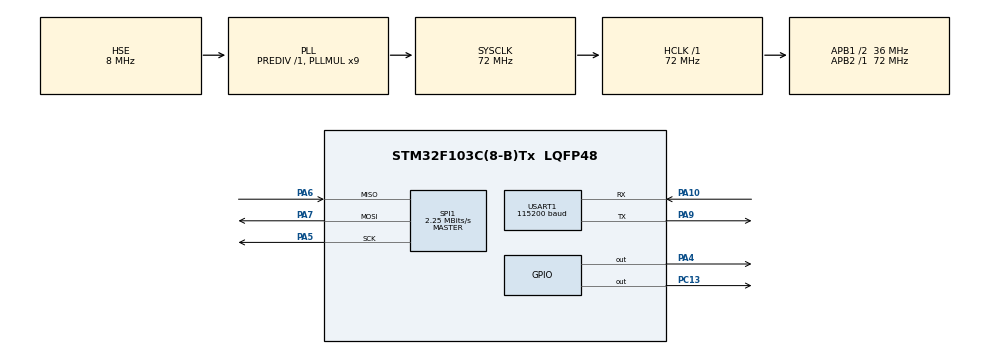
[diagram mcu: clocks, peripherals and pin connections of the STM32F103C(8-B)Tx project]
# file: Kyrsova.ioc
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Mcu.Family=STM32F1
Mcu.Name=STM32F103C(8-B)Tx
Mcu.Package=LQFP48
NVIC.PriorityGroup=NVIC_PRIORITYGROUP_4
PA10.Mode=Asynchronous
PA10.Signal=USART1_RX
PA13.Mode=Serial_Wire
PA13.Signal=SYS_JTMS-SWDIO
PA14.Mode=Serial_Wire
PA14.Signal=SYS_JTCK-SWCLK
PA4.PinState=GPIO_PIN_SET
PA4.Signal=GPIO_Output
PA5.Mode=Full_Duplex_Master
PA5.Signal=SPI1_SCK
PA6.Mode=Full_Duplex_Master
PA6.Signal=SPI1_MISO
PA7.Mode=Full_Duplex_Master
PA7.Signal=SPI1_MOSI
PA9.Mode=Asynchronous
PA9.Signal=USART1_TX
PC13-TAMPER-RTC.PinState=GPIO_PIN_SET
PC13-TAMPER-RTC.Signal=GPIO_Output
PD0-OSC_IN.Mode=HSE-External-Oscillator
PD0-OSC_IN.Signal=RCC_OSC_IN
PD1-OSC_OUT.Mode=HSE-External-Oscillator
PD1-OSC_OUT.Signal=RCC_OSC_OUT
ProjectManager.HeapSize=0x200
ProjectManager.StackSize=0x400
ProjectManager.TargetToolchain=EWARM V8.32
RCC.AHBFreq_Value=72000000
RCC.APB1CLKDivider=RCC_HCLK_DIV2
RCC.APB1Freq_Value=36000000
RCC.APB1TimFreq_Value=72000000
RCC.APB2Freq_Value=72000000
RCC.APB2TimFreq_Value=72000000
RCC.HCLKFreq_Value=72000000
RCC.PLLMUL=RCC_PLL_MUL9
RCC.PLLSourceVirtual=RCC_PLLSOURCE_HSE
RCC.SYSCLKFreq_VALUE=72000000
RCC.SYSCLKSource=RCC_SYSCLKSOURCE_PLLCLK
RCC.USBFreq_Value=72000000
SPI1.BaudRatePrescaler=SPI_BAUDRATEPRESCALER_32
SPI1.CalculateBaudRate=2.25 MBits/s
SPI1.Direction=SPI_DIRECTION_2LINES
SPI1.Mode=SPI_MODE_MASTER
SPI1.VirtualType=VM_MASTER
USART1.BaudRate=115200
USART1.VirtualMode=VM_ASYNC
board=custom

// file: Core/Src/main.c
/* USER CODE BEGIN Header */
/**
  ******************************************************************************
  * @file           : main.c
  * @brief          : Main program body
  ******************************************************************************
  * @attention
  *
  * Copyright (c) 2025 STMicroelectronics.
  * All rights reserved.
  *
  * This software is licensed under terms that can be found in the LICENSE file
  * in the root directory of this software component.
  * If no LICENSE file comes with this software, it is provided AS-IS.
  *
  ******************************************************************************
  */
/* USER CODE END Header */
#include "main.h"

/* USER CODE BEGIN Includes */
#include <string.h>
#include <stdbool.h>
#include <stdio.h>
#include "socket.h"
#include "dhcp.h"
#include "wizchip_conf.h"

/* USER CODE END Includes */

/* USER CODE BEGIN PD */

#define SOCKET_ID       0
#define DHCP_SOCKET     0
#define DNS_SOCKET      1
#define HTTP_SOCKET     2
#define SOCK_TCPS       0
#define SOCK_UDPS       1
#define PORT_TCPS       80

/* USER CODE END PD */

SPI_HandleTypeDef hspi1;

UART_HandleTypeDef huart1;

/* USER CODE BEGIN PV */
uint8_t socknumlist[] = {2, 3, 4, 5, 6, 7};
uint8_t RX_BUF[1024];
uint8_t TX_BUF[1024];
uint8_t* tx_ref = TX_BUF;
int32_t ret;
int32_t totalRet = 0;

wiz_NetInfo net_info = {
    .mac  = {0x00, 0x08, 0xDC, 0x11, 0x22, 0x33},
    .ip   = {192, 168, 0, 101},
    .sn   = {255, 255, 255, 0},
    .gw   = {192, 168, 0, 1},
    .dhcp = NETINFO_STATIC
};

/* USER CODE END PV */

void SystemClock_Config(void);
static void MX_GPIO_Init(void);
static void MX_SPI1_Init(void);
static void MX_USART1_UART_Init(void);

/* USER CODE BEGIN 0 */
void wizchipSelect(void) {
    HAL_GPIO_WritePin(GPIOA, GPIO_PIN_4, GPIO_PIN_RESET);
}

void wizchipUnselect(void) {
    HAL_GPIO_WritePin(GPIOA, GPIO_PIN_4, GPIO_PIN_SET);
}

void wizchipReadBurst(uint8_t* buff, uint16_t len) {
    HAL_SPI_Receive(&hspi1, buff, len, HAL_MAX_DELAY);
}

void wizchipWriteBurst(uint8_t* buff, uint16_t len) {
    HAL_SPI_Transmit(&hspi1, buff, len, HAL_MAX_DELAY);
}

uint8_t wizchipReadByte(void) {
    uint8_t byte;
    wizchipReadBurst(&byte, sizeof(byte));
    return byte;
}

void wizchipWriteByte(uint8_t byte) {
    wizchipWriteBurst(&byte, sizeof(byte));
}

volatile bool ip_assigned = false;

void Callback_IPAssigned(void) {
    ip_assigned = true;
}

void Callback_IPConflict(void) {
    ip_assigned = false;
}

uint8_t dhcp_buffer[1024];
uint8_t dns_buffer[1024];

void W5500Init() {
    // Register W5500 callbacks
    reg_wizchip_cs_cbfunc(wizchipSelect, wizchipUnselect);
    reg_wizchip_spi_cbfunc(wizchipReadByte, wizchipWriteByte);
    reg_wizchip_spiburst_cbfunc(wizchipReadBurst, wizchipWriteBurst);

    uint8_t rx_tx_buff_sizes[] = {2, 2, 2, 2, 2, 2, 2, 2};
    wizchip_init(rx_tx_buff_sizes, rx_tx_buff_sizes);

    // set MAC address before using DHCP

    //setSHAR(net_info.mac);

//    char charData[200]; // Data holder
//    sprintf(charData,"IP:  %d.%d.%d.%d\r\nGW:  %d.%d.%d.%d\r\nNet: %d.%d.%d.%d\r\n",
//        net_info.ip[0], net_info.ip[1], net_info.ip[2], net_info.ip[3],
//        net_info.gw[0], net_info.gw[1], net_info.gw[2], net_info.gw[3],
//        net_info.sn[0], net_info.sn[1], net_info.sn[2], net_info.sn[3]
//    );
//    HAL_UART_Transmit(&huart1,(uint8_t *)charData,strlen(charData),1000);

    wizchip_setnetinfo(&net_info);
}

/* USER CODE END 0 */

int main(void)
{

  /* MCU Configuration--------------------------------------------------------*/

  /* Reset of all peripherals, Initializes the Flash interface and the Systick. */
  HAL_Init();

  /* Configure the system clock */
  SystemClock_Config();

  /* Initialize all configured peripherals */
  MX_GPIO_Init();
  MX_SPI1_Init();
  MX_USART1_UART_Init();
  /* USER CODE BEGIN 2 */
  HAL_GPIO_WritePin(GPIOC, GPIO_PIN_13, GPIO_PIN_SET);

  W5500Init();

  const char http_get_response[] =
          "HTTP/1.1 200 OK\r\n"
          "Content-Length: %d\r\n"
          "Content-Type: text\r\n"
          "Connection: close\r\n\r\n";

  const char http_post_response[] =
          "HTTP/1.1 200 OK\r\n"
          "Connection: close\r\n\r\n";

  /* USER CODE END 2 */

  /* Infinite loop */
  while (1)
  {

    /* USER CODE BEGIN 3 */

      switch (getSn_SR(SOCKET_ID))
      {
      case SOCK_INIT:
        socket(SOCKET_ID, Sn_MR_TCP, PORT_TCPS, 0);

        listen(SOCKET_ID);

        break;

      case SOCK_ESTABLISHED:

        ret = recv(SOCKET_ID, TX_BUF, sizeof(TX_BUF)-1);

        if(ret == 0)
        {
          disconnect(SOCKET_ID);
          break;
        }

        TX_BUF[ret] = '\0';

        char* body = strstr((char* )TX_BUF, "\r\n\r\n");
        body+=4;
        const char* method = strtok((char* )TX_BUF, " ");
        const char* url = strtok(NULL, " ");

        /*if(strcmp(method, "GET") == 0)
        {
          HAL_UART_Transmit(&huart1, method, strlen(method), HAL_MAX_DELAY);
          HAL_UART_Transmit(&huart1, " ", 1, HAL_MAX_DELAY);
          HAL_UART_Transmit(&huart1, url, strlen(url), HAL_MAX_DELAY);
          HAL_UART_Transmit(&huart1, "\0", 1, HAL_MAX_DELAY);

          //uint8_t size = 0;
          //HAL_UART_Receive(&huart1, &size, 1, HAL_MAX_DELAY);  // зчитуємо розмір

          HAL_Delay(100);
          uint8_t data[128] = {0};
          HAL_UART_Receive_DMA(&huart1, data, HAL_MAX_DELAY);
          HAL_UART_Receive(&huart1, data + 1, 1, HAL_MAX_DELAY);

          body[10] = '\0';
          const char http_response[] =
          "HTTP/1.1 200 OK\r\n"
          "Content-Length: %d\r\n"
          "Content-Type: text\r\n"
          "Connection: close\r\n\r\n";

          snprintf((char*)RX_BUF, sizeof(RX_BUF), http_response, strlen(body));

          send(SOCKET_ID, RX_BUF, strlen((const char*)RX_BUF));
          send(SOCKET_ID, (uint8_t*)body, strlen(body));

        }
        else */if (strcmp(method, "POST") == 0)
        {
          HAL_UART_Transmit(&huart1, method, strlen(method), HAL_MAX_DELAY);
          HAL_UART_Transmit(&huart1, " ", 1, HAL_MAX_DELAY);
          HAL_UART_Transmit(&huart1, url, strlen(url), HAL_MAX_DELAY);
          HAL_UART_Transmit(&huart1, " ", 1, HAL_MAX_DELAY);
          HAL_UART_Transmit(&huart1, body, strlen(body), HAL_MAX_DELAY);
          HAL_UART_Transmit(&huart1, "\0", 1, HAL_MAX_DELAY);

          snprintf((char*)RX_BUF, sizeof(RX_BUF), http_post_response);

          send(SOCKET_ID, RX_BUF, strlen((const char*)RX_BUF));

        }

        memset(TX_BUF, 0, sizeof(TX_BUF));
        memset(RX_BUF, 0, sizeof(RX_BUF));
        disconnect(SOCKET_ID);

        break;
      case SOCK_CLOSE_WAIT:

        disconnect(SOCKET_ID);
        listen(SOCKET_ID);
        break;

      case SOCK_CLOSED:

        socket(SOCKET_ID, Sn_MR_TCP, PORT_TCPS, 0);
        listen(SOCKET_ID);
        break;

      default:
        break;
      }

  }
  /* USER CODE END 3 */
}

void SystemClock_Config(void)
{
  RCC_OscInitTypeDef RCC_OscInitStruct = {0};
  RCC_ClkInitTypeDef RCC_ClkInitStruct = {0};

  /** Initializes the RCC Oscillators according to the specified parameters
  * in the RCC_OscInitTypeDef structure.
  */
  RCC_OscInitStruct.OscillatorType = RCC_OSCILLATORTYPE_HSE;
  RCC_OscInitStruct.HSEState = RCC_HSE_ON;
  RCC_OscInitStruct.HSEPredivValue = RCC_HSE_PREDIV_DIV1;
  RCC_OscInitStruct.HSIState = RCC_HSI_ON;
  RCC_OscInitStruct.PLL.PLLState = RCC_PLL_ON;
  RCC_OscInitStruct.PLL.PLLSource = RCC_PLLSOURCE_HSE;
  RCC_OscInitStruct.PLL.PLLMUL = RCC_PLL_MUL9;
  if (HAL_RCC_OscConfig(&RCC_OscInitStruct) != HAL_OK)
  {
    Error_Handler();
  }

  /** Initializes the CPU, AHB and APB buses clocks
  */
  RCC_ClkInitStruct.ClockType = RCC_CLOCKTYPE_HCLK|RCC_CLOCKTYPE_SYSCLK
                              |RCC_CLOCKTYPE_PCLK1|RCC_CLOCKTYPE_PCLK2;
  RCC_ClkInitStruct.SYSCLKSource = RCC_SYSCLKSOURCE_PLLCLK;
  RCC_ClkInitStruct.AHBCLKDivider = RCC_SYSCLK_DIV1;
  RCC_ClkInitStruct.APB1CLKDivider = RCC_HCLK_DIV2;
  RCC_ClkInitStruct.APB2CLKDivider = RCC_HCLK_DIV1;

  if (HAL_RCC_ClockConfig(&RCC_ClkInitStruct, FLASH_LATENCY_2) != HAL_OK)
  {
    Error_Handler();
  }
}

static void MX_SPI1_Init(void)
{

  /* SPI1 parameter configuration*/
  hspi1.Instance = SPI1;
  hspi1.Init.Mode = SPI_MODE_MASTER;
  hspi1.Init.Direction = SPI_DIRECTION_2LINES;
  hspi1.Init.DataSize = SPI_DATASIZE_8BIT;
  hspi1.Init.CLKPolarity = SPI_POLARITY_LOW;
  hspi1.Init.CLKPhase = SPI_PHASE_1EDGE;
  hspi1.Init.NSS = SPI_NSS_SOFT;
  hspi1.Init.BaudRatePrescaler = SPI_BAUDRATEPRESCALER_32;
  hspi1.Init.FirstBit = SPI_FIRSTBIT_MSB;
  hspi1.Init.TIMode = SPI_TIMODE_DISABLE;
  hspi1.Init.CRCCalculation = SPI_CRCCALCULATION_DISABLE;
  hspi1.Init.CRCPolynomial = 10;
  if (HAL_SPI_Init(&hspi1) != HAL_OK)
  {
    Error_Handler();
  }

}

static void MX_USART1_UART_Init(void)
{

  huart1.Instance = USART1;
  huart1.Init.BaudRate = 115200;
  huart1.Init.WordLength = UART_WORDLENGTH_8B;
  huart1.Init.StopBits = UART_STOPBITS_1;
  huart1.Init.Parity = UART_PARITY_NONE;
  huart1.Init.Mode = UART_MODE_TX_RX;
  huart1.Init.HwFlowCtl = UART_HWCONTROL_NONE;
  huart1.Init.OverSampling = UART_OVERSAMPLING_16;
  if (HAL_UART_Init(&huart1) != HAL_OK)
  {
    Error_Handler();
  }

}

static void MX_GPIO_Init(void)
{
  GPIO_InitTypeDef GPIO_InitStruct = {0};

  /* GPIO Ports Clock Enable */
  __HAL_RCC_GPIOC_CLK_ENABLE();
  __HAL_RCC_GPIOD_CLK_ENABLE();
  __HAL_RCC_GPIOA_CLK_ENABLE();

  /*Configure GPIO pin Output Level */
  HAL_GPIO_WritePin(GPIOC, GPIO_PIN_13, GPIO_PIN_SET);

  /*Configure GPIO pin Output Level */
  HAL_GPIO_WritePin(GPIOA, GPIO_PIN_4, GPIO_PIN_SET);

  /*Configure GPIO pin : PC13 */
  GPIO_InitStruct.Pin = GPIO_PIN_13;
  GPIO_InitStruct.Mode = GPIO_MODE_OUTPUT_PP;
  GPIO_InitStruct.Pull = GPIO_NOPULL;
  GPIO_InitStruct.Speed = GPIO_SPEED_FREQ_LOW;
  HAL_GPIO_Init(GPIOC, &GPIO_InitStruct);

  /*Configure GPIO pin : PA4 */
  GPIO_InitStruct.Pin = GPIO_PIN_4;
  GPIO_InitStruct.Mode = GPIO_MODE_OUTPUT_PP;
  GPIO_InitStruct.Pull = GPIO_NOPULL;
  GPIO_InitStruct.Speed = GPIO_SPEED_FREQ_LOW;
  HAL_GPIO_Init(GPIOA, &GPIO_InitStruct);

}

void Error_Handler(void)
{
  __disable_irq();
  while (1)
  {
  }
}
